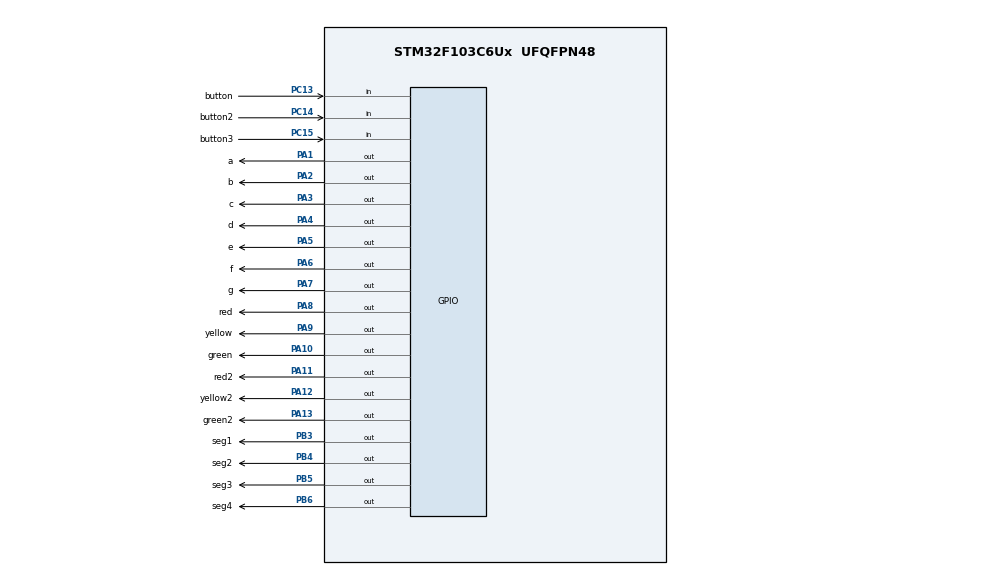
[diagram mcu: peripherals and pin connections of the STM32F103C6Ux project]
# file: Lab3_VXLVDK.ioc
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Mcu.Family=STM32F1
Mcu.Name=STM32F103C6Ux
Mcu.Package=UFQFPN48
NVIC.PriorityGroup=NVIC_PRIORITYGROUP_4
NVIC.TIM2_IRQn=true\:0\:0\:false\:false\:true\:true\:true\:true
PA1.GPIO_Label=a
PA1.Signal=GPIO_Output
PA10.GPIO_Label=green
PA10.Signal=GPIO_Output
PA11.GPIO_Label=red2
PA11.Signal=GPIO_Output
PA12.GPIO_Label=yellow2
PA12.Signal=GPIO_Output
PA13.GPIO_Label=green2
PA13.Signal=GPIO_Output
PA2.GPIO_Label=b
PA2.Signal=GPIO_Output
PA3.GPIO_Label=c
PA3.Signal=GPIO_Output
PA4.GPIO_Label=d
PA4.Signal=GPIO_Output
PA5.GPIO_Label=e
PA5.Signal=GPIO_Output
PA6.GPIO_Label=f
PA6.Signal=GPIO_Output
PA7.GPIO_Label=g
PA7.Signal=GPIO_Output
PA8.GPIO_Label=red
PA8.Signal=GPIO_Output
PA9.GPIO_Label=yellow
PA9.Signal=GPIO_Output
PB3.GPIO_Label=seg1
PB3.Signal=GPIO_Output
PB4.GPIO_Label=seg2
PB4.Signal=GPIO_Output
PB5.GPIO_Label=seg3
PB5.Signal=GPIO_Output
PB6.GPIO_Label=seg4
PB6.Signal=GPIO_Output
PC13-TAMPER-RTC.GPIO_Label=button
PC13-TAMPER-RTC.GPIO_PuPd=GPIO_PULLUP
PC13-TAMPER-RTC.Signal=GPIO_Input
PC14-OSC32_IN.GPIO_Label=button2
PC14-OSC32_IN.GPIO_PuPd=GPIO_PULLUP
PC14-OSC32_IN.Signal=GPIO_Input
PC15-OSC32_OUT.GPIO_Label=button3
PC15-OSC32_OUT.GPIO_PuPd=GPIO_PULLUP
PC15-OSC32_OUT.Signal=GPIO_Input
ProjectManager.HeapSize=0x200
ProjectManager.StackSize=0x400
ProjectManager.TargetToolchain=STM32CubeIDE
RCC.APB1Freq_Value=8000000
RCC.APB2Freq_Value=8000000
TIM2.Period=7999
TIM2.Prescaler=9
VP_TIM2_VS_ClockSourceINT.Mode=Internal
board=custom

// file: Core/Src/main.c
/* USER CODE BEGIN Header */
/**
  ******************************************************************************
  * @file           : main.c
  * @brief          : Main program body
  ******************************************************************************
  * @attention
  *
  * Copyright (c) 2023 STMicroelectronics.
  * All rights reserved.
  *
  * This software is licensed under terms that can be found in the LICENSE file
  * in the root directory of this software component.
  * If no LICENSE file comes with this software, it is provided AS-IS.
  *
  ******************************************************************************
  */
/* USER CODE END Header */
#include "main.h"

/* USER CODE BEGIN Includes */
#include "button.h"
#include "timer.h"
#include "global.h"
#include "fsm.h"
#include "manual.h"
/* USER CODE END Includes */

TIM_HandleTypeDef htim2;

void SystemClock_Config(void);
static void MX_GPIO_Init(void);
static void MX_TIM2_Init(void);

/* USER CODE BEGIN 0 */

void display7SEG(int num)
{
	switch(num)
	{
		case 0:
		{
			  HAL_GPIO_WritePin(GPIOA, a_Pin, RESET);  //0
			  HAL_GPIO_WritePin(GPIOA, b_Pin, RESET);
			  HAL_GPIO_WritePin(GPIOA, c_Pin, RESET);
			  HAL_GPIO_WritePin(GPIOA, d_Pin, RESET);
			  HAL_GPIO_WritePin(GPIOA, e_Pin, RESET);
			  HAL_GPIO_WritePin(GPIOA, f_Pin, RESET);
			  HAL_GPIO_WritePin(GPIOA, g_Pin, SET);
			  break;
		}

		case 1:
		{
			  HAL_GPIO_WritePin(GPIOA, a_Pin, SET);	//1
			  HAL_GPIO_WritePin(GPIOA, b_Pin, RESET);
			  HAL_GPIO_WritePin(GPIOA, c_Pin, RESET);
			  HAL_GPIO_WritePin(GPIOA, d_Pin, SET);
			  HAL_GPIO_WritePin(GPIOA, e_Pin, SET);
			  HAL_GPIO_WritePin(GPIOA, f_Pin, SET);
			  HAL_GPIO_WritePin(GPIOA, g_Pin, SET);
			  break;
		}
		case 2:
		{
			  HAL_GPIO_WritePin(GPIOA, a_Pin, RESET);	//2
			  HAL_GPIO_WritePin(GPIOA, b_Pin, RESET);
			  HAL_GPIO_WritePin(GPIOA, c_Pin, SET);
			  HAL_GPIO_WritePin(GPIOA, d_Pin, RESET);
			  HAL_GPIO_WritePin(GPIOA, e_Pin, RESET);
			  HAL_GPIO_WritePin(GPIOA, f_Pin, SET);
			  HAL_GPIO_WritePin(GPIOA, g_Pin, RESET);
			  break;
		}
		case 3:
		{
			  HAL_GPIO_WritePin(GPIOA, a_Pin, RESET);	//3
			  HAL_GPIO_WritePin(GPIOA, b_Pin, RESET);
			  HAL_GPIO_WritePin(GPIOA, c_Pin, RESET);
			  HAL_GPIO_WritePin(GPIOA, d_Pin, RESET);
			  HAL_GPIO_WritePin(GPIOA, e_Pin, SET);
			  HAL_GPIO_WritePin(GPIOA, f_Pin, SET);
			  HAL_GPIO_WritePin(GPIOA, g_Pin, RESET);
			  break;
		}
		case 4:
		{
			  HAL_GPIO_WritePin(GPIOA, a_Pin, SET);	//4
			  HAL_GPIO_WritePin(GPIOA, b_Pin, RESET);
			  HAL_GPIO_WritePin(GPIOA, c_Pin, RESET);
			  HAL_GPIO_WritePin(GPIOA, d_Pin, SET);
			  HAL_GPIO_WritePin(GPIOA, e_Pin, SET);
			  HAL_GPIO_WritePin(GPIOA, f_Pin, RESET);
			  HAL_GPIO_WritePin(GPIOA, g_Pin, RESET);
			  break;
		}
		case 5:
		{
			  HAL_GPIO_WritePin(GPIOA, a_Pin, RESET);	//5
			  HAL_GPIO_WritePin(GPIOA, b_Pin, SET);
			  HAL_GPIO_WritePin(GPIOA, c_Pin, RESET);
			  HAL_GPIO_WritePin(GPIOA, d_Pin, RESET);
			  HAL_GPIO_WritePin(GPIOA, e_Pin, SET);
			  HAL_GPIO_WritePin(GPIOA, f_Pin, RESET);
			  HAL_GPIO_WritePin(GPIOA, g_Pin, RESET);
			  break;
		}
		case 6:
		{
			  HAL_GPIO_WritePin(GPIOA, a_Pin, RESET);	//6
			  HAL_GPIO_WritePin(GPIOA, b_Pin, SET);
			  HAL_GPIO_WritePin(GPIOA, c_Pin, RESET);
			  HAL_GPIO_WritePin(GPIOA, d_Pin, RESET);
			  HAL_GPIO_WritePin(GPIOA, e_Pin, RESET);
			  HAL_GPIO_WritePin(GPIOA, f_Pin, RESET);
			  HAL_GPIO_WritePin(GPIOA, g_Pin, RESET);
			  break;
		}
		case 7:
		{
			  HAL_GPIO_WritePin(GPIOA, a_Pin, RESET);	//7
			  HAL_GPIO_WritePin(GPIOA, b_Pin, RESET);
			  HAL_GPIO_WritePin(GPIOA, c_Pin, RESET);
			  HAL_GPIO_WritePin(GPIOA, d_Pin, SET);
			  HAL_GPIO_WritePin(GPIOA, e_Pin, SET);
			  HAL_GPIO_WritePin(GPIOA, f_Pin, SET);
			  HAL_GPIO_WritePin(GPIOA, g_Pin, SET);
			  break;
		}
		case 8:
		{
			  HAL_GPIO_WritePin(GPIOA, a_Pin, RESET);	//8
			  HAL_GPIO_WritePin(GPIOA, b_Pin, RESET);
			  HAL_GPIO_WritePin(GPIOA, c_Pin, RESET);
			  HAL_GPIO_WritePin(GPIOA, d_Pin, RESET);
			  HAL_GPIO_WritePin(GPIOA, e_Pin, RESET);
			  HAL_GPIO_WritePin(GPIOA, f_Pin, RESET);
			  HAL_GPIO_WritePin(GPIOA, g_Pin, RESET);
			  break;
		}
		case 9:
		{
			  HAL_GPIO_WritePin(GPIOA, a_Pin, RESET);	//9
			  HAL_GPIO_WritePin(GPIOA, b_Pin, RESET);
			  HAL_GPIO_WritePin(GPIOA, c_Pin, RESET);
			  HAL_GPIO_WritePin(GPIOA, d_Pin, RESET);
			  HAL_GPIO_WritePin(GPIOA, e_Pin, SET);
			  HAL_GPIO_WritePin(GPIOA, f_Pin, RESET);
			  HAL_GPIO_WritePin(GPIOA, g_Pin, RESET);
			  break;
		}
		default:
			  HAL_GPIO_WritePin(GPIOA, a_Pin, SET);	//special
			  HAL_GPIO_WritePin(GPIOA, b_Pin, SET);
			  HAL_GPIO_WritePin(GPIOA, c_Pin, SET);
			  HAL_GPIO_WritePin(GPIOA, d_Pin, SET);
			  HAL_GPIO_WritePin(GPIOA, e_Pin, SET);
			  HAL_GPIO_WritePin(GPIOA, f_Pin, SET);
			  HAL_GPIO_WritePin(GPIOA, g_Pin, RESET);
	}
}
const int MAX_LED = 4;
int index_led = 0;
int led_buffer[4] = {0, 0, 0, 0};
void update7SEG(int index)
{
	switch(index)
	{
		case 0:
		{
			HAL_GPIO_WritePin(seg1_GPIO_Port, seg1_Pin, RESET);
			HAL_GPIO_WritePin(seg2_GPIO_Port, seg2_Pin, SET);
			HAL_GPIO_WritePin(seg3_GPIO_Port, seg3_Pin, SET);
			HAL_GPIO_WritePin(seg4_GPIO_Port, seg4_Pin, SET);
			display7SEG(led_buffer[0]);
			break;
		}
		case 1:
		{
			HAL_GPIO_WritePin(seg1_GPIO_Port, seg1_Pin, SET);
			HAL_GPIO_WritePin(seg2_GPIO_Port, seg2_Pin, RESET);
			HAL_GPIO_WritePin(seg3_GPIO_Port, seg3_Pin, SET);
			HAL_GPIO_WritePin(seg4_GPIO_Port, seg4_Pin, SET);
			if (mode_flag == 1)
			{
				display7SEG(led_buffer[1]);
			}
			if (mode_flag == 0)
			{
				display7SEG(led_buffer[1]--);
			}
			break;
		}
		case 2:
		{
			HAL_GPIO_WritePin(seg1_GPIO_Port, seg1_Pin, SET);
			HAL_GPIO_WritePin(seg2_GPIO_Port, seg2_Pin, SET);
			HAL_GPIO_WritePin(seg3_GPIO_Port, seg3_Pin, RESET);
			HAL_GPIO_WritePin(seg4_GPIO_Port, seg4_Pin, SET);
			display7SEG(led_buffer[2]);
			break;
		}
		case 3:
		{
			HAL_GPIO_WritePin(seg1_GPIO_Port, seg1_Pin, SET);
			HAL_GPIO_WritePin(seg2_GPIO_Port, seg2_Pin, SET);
			HAL_GPIO_WritePin(seg3_GPIO_Port, seg3_Pin, SET);
			HAL_GPIO_WritePin(seg4_GPIO_Port, seg4_Pin, RESET);
			if (mode_flag == 1)
			{
				display7SEG(led_buffer[3]);
			}
			if (mode_flag == 0)
			{
				display7SEG(led_buffer[3]--);
			}
			break;
		}
		default:
			break;
	}
}

void updateBuffer (int index, int time)
{
	if (index == 1 || index == 3)
	{
		if (time <= 9)
		{
			led_buffer[index] = time;
		}
		if (time > 9)
		{
			led_buffer[index-1] = time/10;
			led_buffer[index] = time%10;
		}
	}
	if (index == 0 || index == 2)
	{
		led_buffer[index] = time;
	}
}

void led_buffer_edit()
{
	if (led_buffer[3] < 0 && led_buffer[2] > 0)
	{
		led_buffer[3] = 9;
		led_buffer[2]--;
	}
	if (led_buffer[1] < 0 && led_buffer[0] > 0)
	{
		led_buffer[1] = 9;
		led_buffer[0]--;
	}
}
/* USER CODE END 0 */

int main(void)
{

  /* MCU Configuration--------------------------------------------------------*/

  /* Reset of all peripherals, Initializes the Flash interface and the Systick. */
  HAL_Init();

  /* Configure the system clock */
  SystemClock_Config();

  /* Initialize all configured peripherals */
  MX_GPIO_Init();
  MX_TIM2_Init();
  /* USER CODE BEGIN 2 */
  HAL_TIM_Base_Start_IT (&htim2);
  /* USER CODE END 2 */

  /* Infinite loop */
  /* USER CODE BEGIN WHILE */
  status = INIT;
  setTimer2(25);
  while (1)
  {
    /* USER CODE END WHILE */
	    fsm_run();
	    manual_run();
	  	if (index_led >= 5) index_led = 0;
	  	led_buffer_edit();
	  	if( timer2_flag == 1 && index_led == 0)
	  	{
	  		update7SEG(index_led);
			setTimer2(20);
			index_led++;
		}

		if( timer2_flag == 1 && index_led == 1)
		{
	  		update7SEG(index_led);
			setTimer2(20);
			index_led++;
		}
		if( timer2_flag == 1 && index_led == 2)
		{
	  		update7SEG(index_led);
			setTimer2(20);
			index_led++;
		}
		if( timer2_flag == 1 && index_led == 3)
		{
	  		update7SEG(index_led);
			setTimer2(20);
			index_led++;
		}
		if (timer2_flag == 1 && index_led == 4)
		{
			HAL_GPIO_WritePin(seg1_GPIO_Port, seg1_Pin, RESET);
			HAL_GPIO_WritePin(seg2_GPIO_Port, seg2_Pin, RESET);
			HAL_GPIO_WritePin(seg3_GPIO_Port, seg3_Pin, RESET);
			HAL_GPIO_WritePin(seg4_GPIO_Port, seg4_Pin, RESET);
			display7SEG(10);
			setTimer2(20);
			index_led++;
		}

  }
}

void SystemClock_Config(void)
{
  RCC_OscInitTypeDef RCC_OscInitStruct = {0};
  RCC_ClkInitTypeDef RCC_ClkInitStruct = {0};

  /** Initializes the RCC Oscillators according to the specified parameters
  * in the RCC_OscInitTypeDef structure.
  */
  RCC_OscInitStruct.OscillatorType = RCC_OSCILLATORTYPE_HSI;
  RCC_OscInitStruct.HSIState = RCC_HSI_ON;
  RCC_OscInitStruct.HSICalibrationValue = RCC_HSICALIBRATION_DEFAULT;
  RCC_OscInitStruct.PLL.PLLState = RCC_PLL_NONE;
  if (HAL_RCC_OscConfig(&RCC_OscInitStruct) != HAL_OK)
  {
    Error_Handler();
  }

  /** Initializes the CPU, AHB and APB buses clocks
  */
  RCC_ClkInitStruct.ClockType = RCC_CLOCKTYPE_HCLK|RCC_CLOCKTYPE_SYSCLK
                              |RCC_CLOCKTYPE_PCLK1|RCC_CLOCKTYPE_PCLK2;
  RCC_ClkInitStruct.SYSCLKSource = RCC_SYSCLKSOURCE_HSI;
  RCC_ClkInitStruct.AHBCLKDivider = RCC_SYSCLK_DIV1;
  RCC_ClkInitStruct.APB1CLKDivider = RCC_HCLK_DIV1;
  RCC_ClkInitStruct.APB2CLKDivider = RCC_HCLK_DIV1;

  if (HAL_RCC_ClockConfig(&RCC_ClkInitStruct, FLASH_LATENCY_0) != HAL_OK)
  {
    Error_Handler();
  }
}

static void MX_TIM2_Init(void)
{

  TIM_ClockConfigTypeDef sClockSourceConfig = {0};
  TIM_MasterConfigTypeDef sMasterConfig = {0};

  htim2.Instance = TIM2;
  htim2.Init.Prescaler = 9;
  htim2.Init.CounterMode = TIM_COUNTERMODE_UP;
  htim2.Init.Period = 7999;
  htim2.Init.ClockDivision = TIM_CLOCKDIVISION_DIV1;
  htim2.Init.AutoReloadPreload = TIM_AUTORELOAD_PRELOAD_DISABLE;
  if (HAL_TIM_Base_Init(&htim2) != HAL_OK)
  {
    Error_Handler();
  }
  sClockSourceConfig.ClockSource = TIM_CLOCKSOURCE_INTERNAL;
  if (HAL_TIM_ConfigClockSource(&htim2, &sClockSourceConfig) != HAL_OK)
  {
    Error_Handler();
  }
  sMasterConfig.MasterOutputTrigger = TIM_TRGO_RESET;
  sMasterConfig.MasterSlaveMode = TIM_MASTERSLAVEMODE_DISABLE;
  if (HAL_TIMEx_MasterConfigSynchronization(&htim2, &sMasterConfig) != HAL_OK)
  {
    Error_Handler();
  }

}

static void MX_GPIO_Init(void)
{
  GPIO_InitTypeDef GPIO_InitStruct = {0};

  /* GPIO Ports Clock Enable */
  __HAL_RCC_GPIOC_CLK_ENABLE();
  __HAL_RCC_GPIOA_CLK_ENABLE();
  __HAL_RCC_GPIOB_CLK_ENABLE();

  /*Configure GPIO pin Output Level */
  HAL_GPIO_WritePin(GPIOA, a_Pin|b_Pin|c_Pin|d_Pin
                          |e_Pin|f_Pin|g_Pin|red_Pin
                          |yellow_Pin|green_Pin|red2_Pin|yellow2_Pin
                          |green2_Pin, GPIO_PIN_RESET);

  /*Configure GPIO pin Output Level */
  HAL_GPIO_WritePin(GPIOB, seg1_Pin|seg2_Pin|seg3_Pin|seg4_Pin, GPIO_PIN_RESET);

  /*Configure GPIO pins : button_Pin button2_Pin button3_Pin */
  GPIO_InitStruct.Pin = button_Pin|button2_Pin|button3_Pin;
  GPIO_InitStruct.Mode = GPIO_MODE_INPUT;
  GPIO_InitStruct.Pull = GPIO_PULLUP;
  HAL_GPIO_Init(GPIOC, &GPIO_InitStruct);

  /*Configure GPIO pins : a_Pin b_Pin c_Pin d_Pin
                           e_Pin f_Pin g_Pin red_Pin
                           yellow_Pin green_Pin red2_Pin yellow2_Pin
                           green2_Pin */
  GPIO_InitStruct.Pin = a_Pin|b_Pin|c_Pin|d_Pin
                          |e_Pin|f_Pin|g_Pin|red_Pin
                          |yellow_Pin|green_Pin|red2_Pin|yellow2_Pin
                          |green2_Pin;
  GPIO_InitStruct.Mode = GPIO_MODE_OUTPUT_PP;
  GPIO_InitStruct.Pull = GPIO_NOPULL;
  GPIO_InitStruct.Speed = GPIO_SPEED_FREQ_LOW;
  HAL_GPIO_Init(GPIOA, &GPIO_InitStruct);

  /*Configure GPIO pins : seg1_Pin seg2_Pin seg3_Pin seg4_Pin */
  GPIO_InitStruct.Pin = seg1_Pin|seg2_Pin|seg3_Pin|seg4_Pin;
  GPIO_InitStruct.Mode = GPIO_MODE_OUTPUT_PP;
  GPIO_InitStruct.Pull = GPIO_NOPULL;
  GPIO_InitStruct.Speed = GPIO_SPEED_FREQ_LOW;
  HAL_GPIO_Init(GPIOB, &GPIO_InitStruct);

}

/* USER CODE BEGIN 4 */
void HAL_TIM_PeriodElapsedCallback(TIM_HandleTypeDef *htim)
{
	TimerRun();
	getKeyInput_1();
	getKeyInput_2();
	getKeyInput_3();
}
/* USER CODE END 4 */

void Error_Handler(void)
{
  __disable_irq();
  while (1)
  {
  }
}
